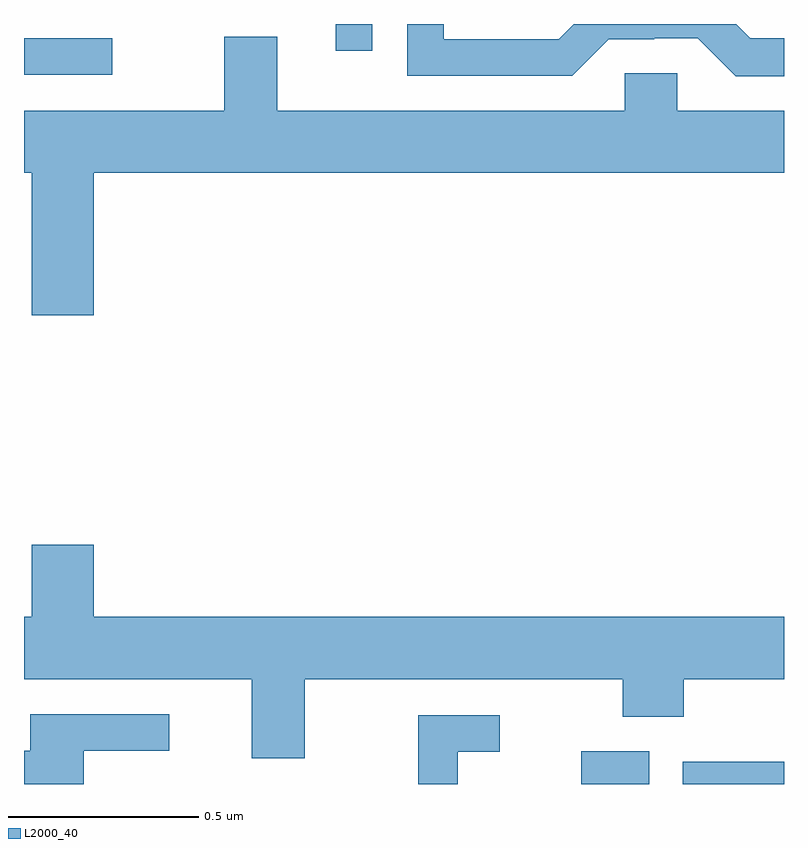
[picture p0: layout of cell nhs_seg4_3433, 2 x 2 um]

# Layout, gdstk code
import gdstk
lib = gdstk.Library(unit=1e-6, precision=1e-09)
def R(c, l, rs):  # rectangles x0, y0, x1, y1
    for r in rs: c.add(gdstk.rectangle(r[:2], r[2:], *l))
def P(c, l, *ps):  # polygons
    for p in ps: c.add(gdstk.Polygon(p, *l))
L2000_40 = (2000, 40)

nhs_seg4_3433 = lib.new_cell('nhs_seg4_3433')
R(nhs_seg4_3433, L2000_40, [(154.466,773.9,154.645,773.986), (154.734,773.9,155,773.958), (153,775.767,153.232,775.863), (153.821,775.83,153.917,775.9)])
P(nhs_seg4_3433, L2000_40, [(155,775.863),(154.911,775.863),(154.874,775.9),(154.447,775.9),(154.407,775.86),(154.104,775.86),(154.104,775.9),(154.008,775.9),(154.008,775.764),(154.443,775.764),(154.539,775.86),(154.658,775.86),(154.658,775.863),(154.773,775.863),(154.873,775.763),(155,775.763)],
  [(153.184,775.508),(155,775.508),(155,775.672),(154.719,775.672),(154.719,775.77),(154.581,775.77),(154.581,775.672),(153.667,775.672),(153.667,775.867),(153.527,775.867),(153.527,775.672),(153,775.672),(153,775.508),(153.02,775.508),(153.02,775.134),(153.184,775.134)],
  [(153.739,774.176),(154.576,774.176),(154.576,774.077),(154.736,774.077),(154.736,774.176),(155,774.176),(155,774.34),(153.184,774.34),(153.184,774.529),(153.02,774.529),(153.02,774.34),(153,774.34),(153,774.176),(153.599,774.176),(153.599,773.968),(153.739,773.968)],
  [(153.157,773.988),(153.382,773.988),(153.382,774.084),(153.017,774.084),(153.017,773.988),(153,773.988),(153,773.9),(153.157,773.9)],
  [(154.141,773.985),(154.252,773.985),(154.252,774.081),(154.037,774.081),(154.037,773.9),(154.141,773.9)])

lib.write_gds('nhs_seg4_3433.gds')
